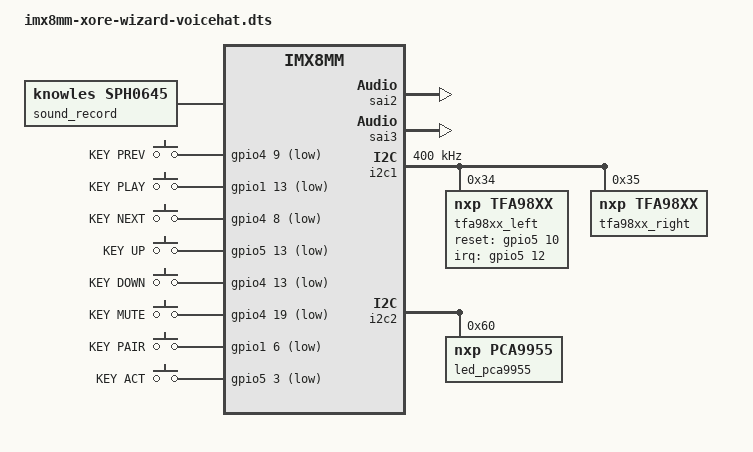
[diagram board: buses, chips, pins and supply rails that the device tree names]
/*
 * Copyright 2018 TechNexion Ltd.
 * Copyright 2018 NXP
 *
 * Author: Richard Hu <richard.hu@technexion.com>
 *         Ray Chang <ray.chang@technexion.com>
 *         Andy Lin <andy.lin@technexion.com>
 *
 * This program is free software; you can redistribute it and/or
 * modify it under the terms of the GNU General Public License
 * as published by the Free Software Foundation; either version 2
 * of the License, or (at your option) any later version.
 *
 * This program is distributed in the hope that it will be useful,
 * but WITHOUT ANY WARRANTY; without even the implied warranty of
 * MERCHANTABILITY or FITNESS FOR A PARTICULAR PURPOSE.  See the
 * GNU General Public License for more details.
 */

#include <dt-bindings/input/input.h>
#include "imx8mm-xore-wizard.dts"

/ {
	sound-tfa9912 {
		compatible = "nxp,imx-audio-tfa98xx", "nxp,imx-tfa98xx";
		nxp,model = "TFA9912";
		cpu-dai = <&sai2>;
		ssi-controller = <&sai2>;
		nxp,audio-codec = <&tfa98xx_left &tfa98xx_right>;
		clocks = <&clk IMX8MM_CLK_SAI2_DIV>;
		nxp,audio-routing =
			"Speaker", "OUTL",
			"DMIC1", "Mic",
			"DMIC2", "Mic",
			"DMIC3", "Mic",
			"DMIC4", "Mic";
	};

	sound-sph0645 {
		compatible = "nxp,imx-audio-sph0645", "nxp,imx-sph0645";
		nxp,model = "SPH0645";
		cpu-dai = <&sai3>;
		ssi-controller = <&sai3>;
		nxp,audio-codec = <&sound_record>;
		clocks = <&clk IMX8MM_CLK_SAI3_DIV>;
	};

	sound_record: codec {
		compatible = "knowles,sph0645";
	};

	leds {
		status = "disabled";
	};

	gpio_keys {
		compatible = "gpio-keys";
		pinctrl-names = "default";
		pinctrl-0 = <&pinctrl_gpio_key_voicehat>;

		prev {
			gpios = <&gpio4 9 GPIO_ACTIVE_LOW>;
			label = "KEY PREV";
			linux,code = <KEY_PREVIOUS>;
		};

		play {
			gpios = <&gpio1 13 GPIO_ACTIVE_LOW>;
			label = "KEY PLAY";
			linux,code = <KEY_PLAY>;
		};

		next {
			gpios = <&gpio4 8 GPIO_ACTIVE_LOW>;
			label = "KEY NEXT";
			linux,code = <KEY_NEXT>;
		};

		up {
			gpios = <&gpio5 13 GPIO_ACTIVE_LOW>;
			label = "KEY UP";
			linux,code = <KEY_UP>;
		};

		down {
			gpios = <&gpio4 13 GPIO_ACTIVE_LOW>;
			label = "KEY DOWN";
			linux,code = <KEY_DOWN>;
		};

		mute {
			gpios = <&gpio4 19 GPIO_ACTIVE_LOW>;
			label = "KEY MUTE";
			linux,code = <KEY_MUTE>;
		};

		pair {
			gpios = <&gpio1 6 GPIO_ACTIVE_LOW>;
			label = "KEY PAIR";
			linux,code = <KEY_SELECT>;
		};

		act {
			gpios = <&gpio5 3 GPIO_ACTIVE_LOW>;
			label = "KEY ACT";
			linux,code = <KEY_OK>;
		};
	};
};

&sound_wm8960 {
		status = "disabled";
};

&sai1 {
	status = "disabled";
};

&sai2 {
	status = "okay";
};

&sai3 {
	status = "okay";
};

&ecspi2 {
	status = "disabled";
};

&pwm2 {
	status = "disabled";
};

&pwm3 {
	status = "disabled";
};

&i2c1 {
	clock-frequency = <400000>;
	tfa98xx_left: tfa98xx_left@34 {
		compatible = "nxp,tfa98xx";
		pinctrl-names = "default";
		pinctrl-0 = <&pinctrl_tfa98xx>;
		reg = <0x34>;
		reset-gpio = <&gpio5 10 GPIO_ACTIVE_HIGH>;
		irq-gpio = <&gpio5 12 GPIO_ACTIVE_HIGH>;
	};

	tfa98xx_right: tfa98xx_right@35 {
		compatible = "nxp,tfa98xx";
		reg = <0x35>;
	};
};

&i2c2 {
	/* PCA9955 - 16-bit RGB LED */
	led_pca9955: pca9955@60 {
		#address-cells = <1>;
		#size-cells = <0>;
		compatible = "nxp,pca9955";
		reg = <0x60>;

		led0 {
			label = "blue0";
			linux,default-trigger = "none";
			reg = <0>;
		};

		led1 {
			label = "green0";
			linux,default-trigger = "none";
			reg = <1>;
		};

		led2 {
			label = "red0";
			linux,default-trigger = "none";
			reg = <2>;
		};

		led3 {
			label = "blue1";
			linux,default-trigger = "none";
			reg = <3>;
		};

		led4 {
			label = "green1";
			linux,default-trigger = "none";
			reg = <4>;
		};

		led5 {
			label = "red1";
			linux,default-trigger = "none";
			reg = <5>;
		};

		led6 {
			label = "blue2";
			linux,default-trigger = "none";
			reg = <6>;
		};

		led7 {
			label = "green2";
			linux,default-trigger = "none";
			reg = <7>;
		};

		led8 {
			label = "red2";
			linux,default-trigger = "none";
			reg = <8>;
		};

		led9 {
			label = "blue3";
			linux,default-trigger = "none";
			reg = <9>;
		};

		led10 {
			label = "green3";
			linux,default-trigger = "none";
			reg = <10>;
		};

		led11 {
			label = "red3";
			linux,default-trigger = "none";
			reg = <11>;
		};

		led12 {
			label = "blue4";
			linux,default-trigger = "none";
			reg = <12>;
		};

		led13 {
			label = "green4";
			linux,default-trigger = "none";
			reg = <13>;
		};

		led14 {
			label = "red4";
			linux,default-trigger = "none";
			reg = <14>;
		};

		led15 {
			label = "blue5";
			linux,default-trigger = "none";
			reg = <15>;
		};
	};
};
